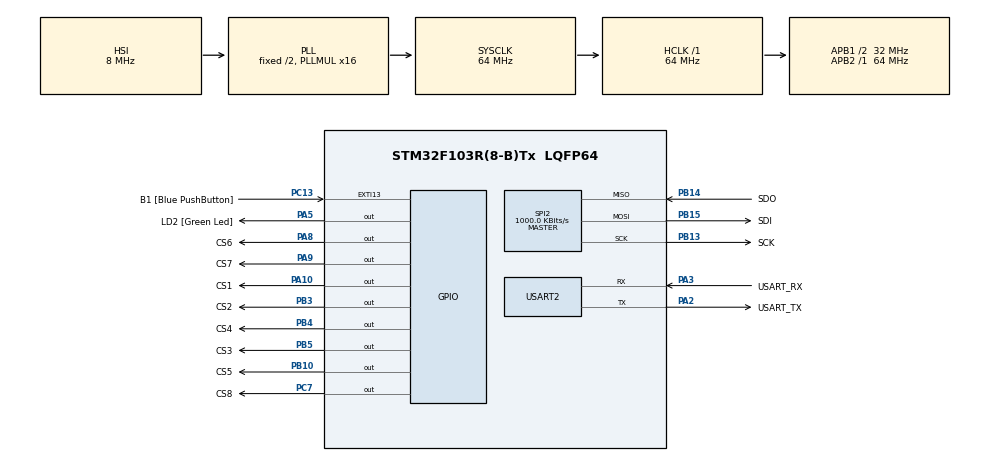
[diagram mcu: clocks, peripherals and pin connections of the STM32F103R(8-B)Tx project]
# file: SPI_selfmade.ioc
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Mcu.Family=STM32F1
Mcu.Name=STM32F103R(8-B)Tx
Mcu.Package=LQFP64
NVIC.EXTI15_10_IRQn=true\:0\:0\:false\:false\:true
NVIC.PriorityGroup=NVIC_PRIORITYGROUP_4
PA10.GPIO_Label=CS1
PA10.Signal=GPIO_Output
PA13.GPIO_Label=TMS
PA13.Mode=Serial_Wire
PA13.Signal=SYS_JTMS-SWDIO
PA14.GPIO_Label=TCK
PA14.Mode=Serial_Wire
PA14.Signal=SYS_JTCK-SWCLK
PA2.GPIO_Label=USART_TX
PA2.GPIO_Mode=GPIO_MODE_AF_PP
PA2.GPIO_PuPd=GPIO_NOPULL
PA2.GPIO_Speed=GPIO_SPEED_FREQ_LOW
PA2.Mode=Asynchronous
PA2.Signal=USART2_TX
PA3.GPIO_Label=USART_RX
PA3.GPIO_Mode=GPIO_MODE_AF_PP
PA3.GPIO_PuPd=GPIO_NOPULL
PA3.GPIO_Speed=GPIO_SPEED_FREQ_LOW
PA3.Mode=Asynchronous
PA3.Signal=USART2_RX
PA5.GPIO_Label=LD2 [Green Led]
PA5.GPIO_ModeDefaultOutputPP=GPIO_MODE_OUTPUT_PP
PA5.GPIO_PuPd=GPIO_NOPULL
PA5.GPIO_Speed=GPIO_SPEED_FREQ_LOW
PA5.Signal=GPIO_Output
PA8.GPIO_Label=CS6
PA8.Signal=GPIO_Output
PA9.GPIO_Label=CS7
PA9.Signal=GPIO_Output
PB10.GPIO_Label=CS5
PB10.Signal=GPIO_Output
PB13.GPIO_Label=SCK
PB13.Mode=Full_Duplex_Master
PB13.Signal=SPI2_SCK
PB14.GPIO_Label=SDO
PB14.Mode=Full_Duplex_Master
PB14.Signal=SPI2_MISO
PB15.GPIO_Label=SDI
PB15.Mode=Full_Duplex_Master
PB15.Signal=SPI2_MOSI
PB3.GPIO_Label=CS2
PB3.Signal=GPIO_Output
PB4.GPIO_Label=CS4
PB4.Signal=GPIO_Output
PB5.GPIO_Label=CS3
PB5.Signal=GPIO_Output
PC13-TAMPER-RTC.GPIO_Label=B1 [Blue PushButton]
PC13-TAMPER-RTC.GPIO_ModeDefaultEXTI=GPIO_MODE_IT_FALLING
PC13-TAMPER-RTC.GPIO_PuPd=GPIO_NOPULL
PC13-TAMPER-RTC.Signal=GPXTI13
PC14-OSC32_IN.Signal=RCC_OSC32_IN
PC15-OSC32_OUT.Signal=RCC_OSC32_OUT
PC7.GPIO_Label=CS8
PC7.Signal=GPIO_Output
PD0-OSC_IN.Signal=RCC_OSC_IN
PD1-OSC_OUT.Signal=RCC_OSC_OUT
ProjectManager.HeapSize=0x200
ProjectManager.StackSize=0x400
ProjectManager.TargetToolchain=MDK-ARM V5
RCC.AHBFreq_Value=64000000
RCC.APB1CLKDivider=RCC_HCLK_DIV2
RCC.APB1Freq_Value=32000000
RCC.APB1TimFreq_Value=64000000
RCC.APB2Freq_Value=64000000
RCC.APB2TimFreq_Value=64000000
RCC.HCLKFreq_Value=64000000
RCC.PLLMUL=RCC_PLL_MUL16
RCC.SYSCLKFreq_VALUE=64000000
RCC.SYSCLKSource=RCC_SYSCLKSOURCE_PLLCLK
RCC.USBFreq_Value=64000000
SPI2.BaudRatePrescaler=SPI_BAUDRATEPRESCALER_32
SPI2.CLKPolarity=SPI_POLARITY_HIGH
SPI2.CalculateBaudRate=1000.0 KBits/s
SPI2.Direction=SPI_DIRECTION_2LINES
SPI2.Mode=SPI_MODE_MASTER
SPI2.VirtualType=VM_MASTER
USART2.VirtualMode=VM_ASYNC
board=NUCLEO-F103RB

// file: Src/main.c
/**
  ******************************************************************************
  * File Name          : main.c
  * Description        : Main program body
  ******************************************************************************
  ** This notice applies to any and all portions of this file
  * that are not between comment pairs USER CODE BEGIN and
  * USER CODE END. Other portions of this file, whether
  * inserted by the user or by software development tools
  * are owned by their respective copyright owners.
  *
  * COPYRIGHT(c) 2017 STMicroelectronics
  *
  * Redistribution and use in source and binary forms, with or without modification,
  * are permitted provided that the following conditions are met:
  *   1. Redistributions of source code must retain the above copyright notice,
  *      this list of conditions and the following disclaimer.
  *   2. Redistributions in binary form must reproduce the above copyright notice,
  *      this list of conditions and the following disclaimer in the documentation
  *      and/or other materials provided with the distribution.
  *   3. Neither the name of STMicroelectronics nor the names of its contributors
  *      may be used to endorse or promote products derived from this software
  *      without specific prior written permission.
  *
  * THIS SOFTWARE IS PROVIDED BY THE COPYRIGHT HOLDERS AND CONTRIBUTORS "AS IS"
  * AND ANY EXPRESS OR IMPLIED WARRANTIES, INCLUDING, BUT NOT LIMITED TO, THE
  * IMPLIED WARRANTIES OF MERCHANTABILITY AND FITNESS FOR A PARTICULAR PURPOSE ARE
  * DISCLAIMED. IN NO EVENT SHALL THE COPYRIGHT HOLDER OR CONTRIBUTORS BE LIABLE
  * FOR ANY DIRECT, INDIRECT, INCIDENTAL, SPECIAL, EXEMPLARY, OR CONSEQUENTIAL
  * DAMAGES (INCLUDING, BUT NOT LIMITED TO, PROCUREMENT OF SUBSTITUTE GOODS OR
  * SERVICES; LOSS OF USE, DATA, OR PROFITS; OR BUSINESS INTERRUPTION) HOWEVER
  * CAUSED AND ON ANY THEORY OF LIABILITY, WHETHER IN CONTRACT, STRICT LIABILITY,
  * OR TORT (INCLUDING NEGLIGENCE OR OTHERWISE) ARISING IN ANY WAY OUT OF THE USE
  * OF THIS SOFTWARE, EVEN IF ADVISED OF THE POSSIBILITY OF SUCH DAMAGE.
  *
  ******************************************************************************
  */
#include "main.h"
#include "stm32f1xx_hal.h"

/* USER CODE BEGIN Includes */
/* Macros to enable & disable CS pin */
//#define CS_ENABLE		do { HAL_GPIO_WritePin(GPIOA, GPIO_PIN_10, GPIO_PIN_RESET); } while(0);
//#define CS_DISABLE		do { HAL_GPIO_WritePin(GPIOA, GPIO_PIN_10, GPIO_PIN_SET); } while(0);

/* SPI TIMEOUT Value*/
#define TIMEOUT_VAL 60

// The value of the Rref resistor in Ohm
#define RREF 430.0

/* Read Register Address */
#define REG_CONFIG                  0x00
#define REG_RTD_MSB                 0x01
#define REG_RTD_LSB                 0x02
#define REG_HIGH_FAULT_THR_MSB      0x03
#define REG_HIGH_FAULT_THR_LSB      0x04
#define REG_LOW_FAULT_THR_MSB       0x05
#define REG_LOW_FAULT_THR_LSB       0x06
#define REG_FAULT_STATUS            0x07
#define WR(reg)                     ( (reg) | 0x80 )
/* USER CODE END Includes */

SPI_HandleTypeDef hspi2;

UART_HandleTypeDef huart2;

/* USER CODE BEGIN PV */
/* Private variables ---------------------------------------------------------*/
struct __attribute__((packed)) var_max31865
{
  uint16_t rtd_res_raw;			// RTD IC raw resistance register
  uint8_t  status;					// RTD status - full status code
  uint8_t  conf_reg;				// Configuration register readout
  uint16_t  HFT_val;				// High fault threshold register readout
  uint16_t  LFT_val;				// Low fault threshold register readout
};

struct var_max31865 rtd_data;
uint8_t read_addr = 0x00; //Read address of Configuration register

/*variables of resistance and temperature*/
double resistanceRTD;
double tmp;

/*register to initiate SPI*/
uint8_t config_reg_write[] = {WR(REG_CONFIG), 0xC2};

/*arrays to print values in for resistance and temperature*/
char Rrtd[30]; //array to print RTD resistance
char Trtd[30]; //array to print RTD temperature
char Stop[30]; //indicates all is read

/*ChipSelect pins and ports*/
GPIO_TypeDef* CS_GPIO_Port[8]={CS1_GPIO_Port, CS2_GPIO_Port,CS3_GPIO_Port,CS4_GPIO_Port,CS5_GPIO_Port,CS6_GPIO_Port,CS7_GPIO_Port,CS8_GPIO_Port};
uint16_t CS_Pin[8]={CS1_Pin,CS2_Pin,CS3_Pin,CS4_Pin,CS5_Pin,CS6_Pin,CS7_Pin,CS8_Pin};

/* USER CODE END PV */

void SystemClock_Config(void);
static void MX_GPIO_Init(void);
static void MX_SPI2_Init(void); //used to be SPI1
static void MX_USART2_UART_Init(void);

/* USER CODE BEGIN PFP */
/* Private function prototypes -----------------------------------------------*/
void CS_ENSABLE(GPIO_TypeDef* CS_GPIO_Port, uint16_t CS_Pin);
void CS_DISABLE(GPIO_TypeDef* CS_GPIO_Port, uint16_t CS_Pin);
void configureSPI(GPIO_TypeDef* CS_GPIO_Port, uint16_t CS_Pin);
void MAX31865_full_read(GPIO_TypeDef* CS_GPIO_Port, uint16_t CS_Pin);

/* USER CODE END PFP */

/* USER CODE BEGIN 0 */

/* Functions to en- and disable the CS_Pin from Port and Pin */
void CS_ENABLE(GPIO_TypeDef* CS_GPIO_Port, uint16_t CS_Pin)
{
  HAL_GPIO_WritePin(CS_GPIO_Port, CS_Pin, GPIO_PIN_RESET);
}

void CS_DISABLE(GPIO_TypeDef* CS_GPIO_Port, uint16_t CS_Pin)
{
  HAL_GPIO_WritePin(CS_GPIO_Port, CS_Pin, GPIO_PIN_SET);
}

/* Function to configure and initiate SPI */

void configureSPI(GPIO_TypeDef* CS_GPIO_Port, uint16_t CS_Pin)
{
 /* (1) : SPI Transmit, write to config reg on address 0x80 */
  // Step(1): Bring the CS pin low to activate the slave device
  CS_ENABLE(CS_GPIO_Port, CS_Pin);
  HAL_Delay(10); //This delay is very important in the case of STM32F334 in order to work with MAX31865
  // Step(2): Transmit config reg address  & data
  HAL_SPI_Transmit(&hspi2, &config_reg_write[0], 1, TIMEOUT_VAL);
  HAL_SPI_Transmit(&hspi2, &config_reg_write[1], 1, TIMEOUT_VAL);
  // Step(3): Bring the CS pin high again
  CS_DISABLE(CS_GPIO_Port, CS_Pin);
}

/* Function to unpack and store MAX31865 data */

void MAX31865_full_read(GPIO_TypeDef* CS_GPIO_Port, uint16_t CS_Pin)
{
	uint8_t read_data[8]; //variable to store the contents of the registers
	//printf("read_data raw: %u", read_data);
	uint8_t i = 0; //loop variable

	// Step(1): Bring the CS pin low to activate the slave device
	CS_ENABLE(CS_GPIO_Port, CS_Pin);
	// Step(2): Transmit config reg address telling IC that we want to 'read' and start at register 0
	HAL_SPI_Transmit(&hspi2, &read_addr, 1, TIMEOUT_VAL);
	/* Step (3): Receive the first 8 bits (Config reg data) */
	for(i = 0; i < 8; i++)
	{
		HAL_SPI_Receive(&hspi2, &read_data[i], 1, TIMEOUT_VAL);
	}
	// Step(4): Bring the CS pin high again
	CS_DISABLE( CS_GPIO_Port, CS_Pin);
	/* Step (5): Store the data read from the sensor */
	rtd_data.conf_reg = read_data[0]; //Store config reg data
	rtd_data.rtd_res_raw = ((read_data[1] << 8) | read_data[2]) >> 1; // Store rtd_res_raw
	rtd_data.HFT_val = ((read_data[3] << 8) | read_data[4]) >> 1; // Store HFT_val
	rtd_data.LFT_val = (read_data[5] << 8) | read_data[6]; // Store LFT_val
	rtd_data.status = read_data[7]; //Store fault status reg data

  /* calculate RTD resistance */
    resistanceRTD = ((double)rtd_data.rtd_res_raw * RREF) / 32768; // Replace 4000 by 400 for PT100
		sprintf(Rrtd, "\n%u: \nRrtd = %lf\n", CS_Pin, resistanceRTD);
    HAL_UART_Transmit(&huart2, (uint8_t *)Rrtd, 30, TIMEOUT_VAL); // print RTD resistance

	/* calculate RTD temperature (simple calc, +/- 2 deg C from -100C to 100C) */
    /* CALCULATION OF TEMP MUST BE ADJUSTED TO RTD  */
    tmp = ((double)rtd_data.rtd_res_raw / 32) - 256;
		sprintf(Trtd, "Trtd = %lf\n", tmp);
    HAL_UART_Transmit(&huart2, (uint8_t *)Trtd, 30, TIMEOUT_VAL); // print RTD temperature

	HAL_Delay(1000);
}

/* USER CODE END 0 */

int main(void)
{

  /* MCU Configuration----------------------------------------------------------*/

  /* Reset of all peripherals, Initializes the Flash interface and the Systick. */
  HAL_Init();

  /* Configure the system clock */
  SystemClock_Config();

  /* Initialize all configured peripherals */
  MX_GPIO_Init();
  MX_SPI2_Init();//used to be SPI1
  MX_USART2_UART_Init();

  /* USER CODE BEGIN 2 */

for(int conf=0;conf< 8;conf++)
	{
	configureSPI(CS_GPIO_Port[conf],CS_Pin[conf]);
	HAL_Delay(500);

	}
	// give the sensor time to set up
  HAL_Delay(1000);
  /* USER CODE END 2 */

  /* Infinite loop */
while (1)
  {

  /* USER CODE BEGIN 3 */
	for(int i=0;i< 8;i++)
		{
		MAX31865_full_read(CS_GPIO_Port[i],CS_Pin[i]);

		}
	HAL_Delay(2000);
	sprintf(Stop, "%i sensors read\n", 8);

  }
  /* USER CODE END 3 */

}

/** System Clock Configuration
*/
void SystemClock_Config(void)
{

  RCC_OscInitTypeDef RCC_OscInitStruct;
  RCC_ClkInitTypeDef RCC_ClkInitStruct;

    /**Initializes the CPU, AHB and APB busses clocks
    */
  RCC_OscInitStruct.OscillatorType = RCC_OSCILLATORTYPE_HSI;
  RCC_OscInitStruct.HSIState = RCC_HSI_ON;
  RCC_OscInitStruct.HSICalibrationValue = 16;
  RCC_OscInitStruct.PLL.PLLState = RCC_PLL_ON;
  RCC_OscInitStruct.PLL.PLLSource = RCC_PLLSOURCE_HSI_DIV2;
  RCC_OscInitStruct.PLL.PLLMUL = RCC_PLL_MUL16;
  if (HAL_RCC_OscConfig(&RCC_OscInitStruct) != HAL_OK)
  {
    _Error_Handler(__FILE__, __LINE__);
  }

    /**Initializes the CPU, AHB and APB busses clocks
    */
  RCC_ClkInitStruct.ClockType = RCC_CLOCKTYPE_HCLK|RCC_CLOCKTYPE_SYSCLK
                              |RCC_CLOCKTYPE_PCLK1|RCC_CLOCKTYPE_PCLK2;
  RCC_ClkInitStruct.SYSCLKSource = RCC_SYSCLKSOURCE_PLLCLK;
  RCC_ClkInitStruct.AHBCLKDivider = RCC_SYSCLK_DIV1;
  RCC_ClkInitStruct.APB1CLKDivider = RCC_HCLK_DIV2;
  RCC_ClkInitStruct.APB2CLKDivider = RCC_HCLK_DIV1;

  if (HAL_RCC_ClockConfig(&RCC_ClkInitStruct, FLASH_LATENCY_2) != HAL_OK)
  {
    _Error_Handler(__FILE__, __LINE__);
  }

    /**Configure the Systick interrupt time
    */
  HAL_SYSTICK_Config(HAL_RCC_GetHCLKFreq()/1000);

    /**Configure the Systick
    */
  HAL_SYSTICK_CLKSourceConfig(SYSTICK_CLKSOURCE_HCLK);

  /* SysTick_IRQn interrupt configuration */
  HAL_NVIC_SetPriority(SysTick_IRQn, 0, 0);
}

/* SPI2 init function */
static void MX_SPI2_Init(void)
{

  hspi2.Instance = SPI2;
  hspi2.Init.Mode = SPI_MODE_MASTER;
  hspi2.Init.Direction = SPI_DIRECTION_2LINES;
  hspi2.Init.DataSize = SPI_DATASIZE_8BIT;
  hspi2.Init.CLKPolarity = SPI_POLARITY_HIGH;
  hspi2.Init.CLKPhase = SPI_PHASE_2EDGE;
  hspi2.Init.NSS = SPI_NSS_SOFT;
  hspi2.Init.BaudRatePrescaler = SPI_BAUDRATEPRESCALER_64;
  hspi2.Init.FirstBit = SPI_FIRSTBIT_MSB;
  hspi2.Init.TIMode = SPI_TIMODE_DISABLE;
  hspi2.Init.CRCCalculation = SPI_CRCCALCULATION_DISABLE;
  hspi2.Init.CRCPolynomial = 10;
  if (HAL_SPI_Init(&hspi2) != HAL_OK)
  {
    _Error_Handler(__FILE__, __LINE__);
  }

}

/* USART2 init function */
static void MX_USART2_UART_Init(void)
{

  huart2.Instance = USART2;
  huart2.Init.BaudRate = 115200;
  huart2.Init.WordLength = UART_WORDLENGTH_8B;
  huart2.Init.StopBits = UART_STOPBITS_1;
  huart2.Init.Parity = UART_PARITY_NONE;
  huart2.Init.Mode = UART_MODE_TX_RX;
  huart2.Init.HwFlowCtl = UART_HWCONTROL_NONE;
  huart2.Init.OverSampling = UART_OVERSAMPLING_16;
  if (HAL_UART_Init(&huart2) != HAL_OK)
  {
    _Error_Handler(__FILE__, __LINE__);
  }

}

/** Configure pins as
        * Analog
        * Input
        * Output
        * EVENT_OUT
        * EXTI
*/
static void MX_GPIO_Init(void)
{

  GPIO_InitTypeDef GPIO_InitStruct;

  /* GPIO Ports Clock Enable */
  __HAL_RCC_GPIOC_CLK_ENABLE();
  __HAL_RCC_GPIOD_CLK_ENABLE();
  __HAL_RCC_GPIOA_CLK_ENABLE();
  __HAL_RCC_GPIOB_CLK_ENABLE();

  /*Configure GPIO pin Output Level */
  HAL_GPIO_WritePin(GPIOA, LD2_Pin|CS6_Pin|CS7_Pin|CS1_Pin, GPIO_PIN_RESET);

  /*Configure GPIO pin Output Level */
  HAL_GPIO_WritePin(GPIOB, CS5_Pin|CS2_Pin|CS4_Pin|CS3_Pin, GPIO_PIN_RESET);

  /*Configure GPIO pin Output Level */
  HAL_GPIO_WritePin(CS8_GPIO_Port, CS8_Pin, GPIO_PIN_RESET);

  /*Configure GPIO pin : B1_Pin */
  GPIO_InitStruct.Pin = B1_Pin;
  GPIO_InitStruct.Mode = GPIO_MODE_IT_FALLING;
  GPIO_InitStruct.Pull = GPIO_NOPULL;
  HAL_GPIO_Init(B1_GPIO_Port, &GPIO_InitStruct);

  /*Configure GPIO pins : LD2_Pin CS6_Pin CS7_Pin CS1_Pin */
  GPIO_InitStruct.Pin = LD2_Pin|CS6_Pin|CS7_Pin|CS1_Pin;
  GPIO_InitStruct.Mode = GPIO_MODE_OUTPUT_PP;
  GPIO_InitStruct.Speed = GPIO_SPEED_FREQ_LOW;
  HAL_GPIO_Init(GPIOA, &GPIO_InitStruct);

  /*Configure GPIO pins : CS5_Pin CS2_Pin CS4_Pin CS3_Pin */
  GPIO_InitStruct.Pin = CS5_Pin|CS2_Pin|CS4_Pin|CS3_Pin;
  GPIO_InitStruct.Mode = GPIO_MODE_OUTPUT_PP;
  GPIO_InitStruct.Speed = GPIO_SPEED_FREQ_LOW;
  HAL_GPIO_Init(GPIOB, &GPIO_InitStruct);

  /*Configure GPIO pin : CS8_Pin */
  GPIO_InitStruct.Pin = CS8_Pin;
  GPIO_InitStruct.Mode = GPIO_MODE_OUTPUT_PP;
  GPIO_InitStruct.Speed = GPIO_SPEED_FREQ_LOW;
  HAL_GPIO_Init(CS8_GPIO_Port, &GPIO_InitStruct);

  /* EXTI interrupt init*/
  HAL_NVIC_SetPriority(EXTI15_10_IRQn, 0, 0);
  HAL_NVIC_EnableIRQ(EXTI15_10_IRQn);

}

void _Error_Handler(char * file, int line)
{
  while(1)
  {
  }
}

/************************ (C) COPYRIGHT STMicroelectronics *****END OF FILE****/
